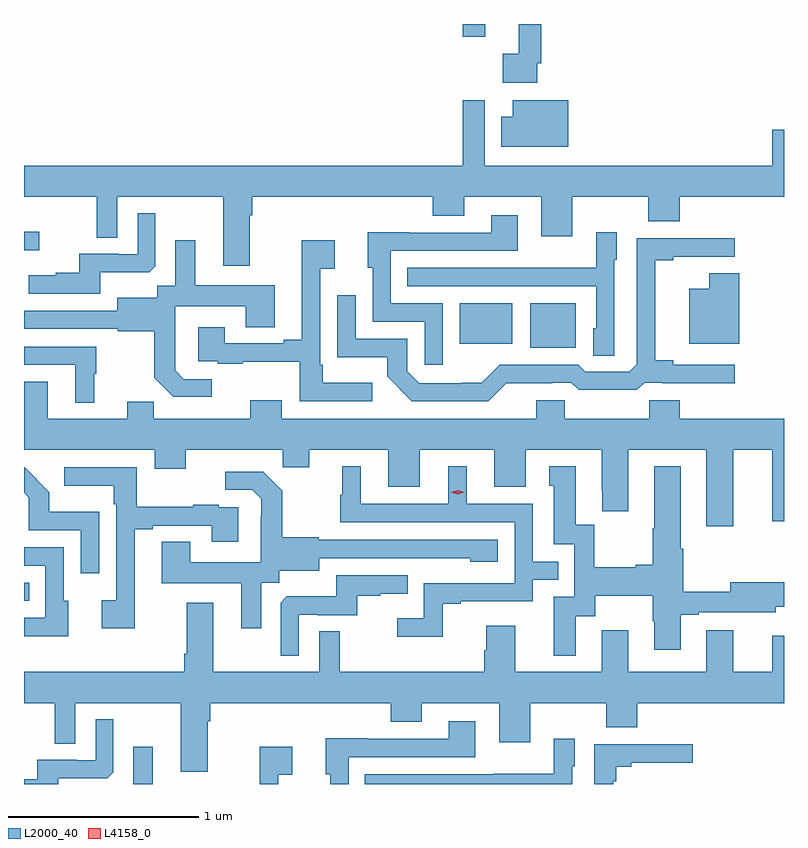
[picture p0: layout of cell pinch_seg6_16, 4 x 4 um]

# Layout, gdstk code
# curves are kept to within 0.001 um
import gdstk
lib = gdstk.Library(unit=1e-6, precision=1e-09)
def R(c, l, rs):  # rectangles x0, y0, x1, y1
    for r in rs: c.add(gdstk.rectangle(r[:2], r[2:], *l))
def P(c, l, *ps):  # polygons
    for p in ps: c.add(gdstk.Polygon(p, *l))
L2000_40 = (2000, 40)
L4158_0 = (4158, 0)

pinch_seg6_16 = lib.new_cell('pinch_seg6_16')
R(pinch_seg6_16, L2000_40, [(964.841,957.566,964.945,957.763), (964.267,958.53,964.295,958.626), (966.932,959.861,967.171,960.097), (966.56,959.882,966.838,960.097), (964.267,960.374,964.348,960.473), (966.577,961.5,966.695,961.566)])
P(pinch_seg6_16, L2000_40, [(966.969,961.36),(966.989,961.36),(966.989,961.566),(966.872,961.566),(966.872,961.409),(966.786,961.409),(966.786,961.256),(966.969,961.256)],
  [(967.132,961.165),(966.839,961.165),(966.839,961.078),(966.778,961.078),(966.778,960.92),(967.132,960.92)],
  [(965.455,960.56),(965.468,960.56),(965.468,960.656),(966.419,960.656),(966.419,960.557),(966.583,960.557),(966.583,960.656),(966.989,960.656),(966.989,960.45),(967.153,960.45),(967.153,960.656),(967.553,960.656),(967.553,960.528),(967.717,960.528),(967.717,960.656),(968.267,960.656),(968.267,961.009),(968.204,961.009),(968.204,960.82),(966.693,960.82),(966.693,961.165),(966.577,961.165),(966.577,960.82),(964.267,960.82),(964.267,960.656),(964.65,960.656),(964.65,960.442),(964.758,960.442),(964.758,960.656),(965.315,960.656),(965.315,960.294),(965.455,960.294)],
  [(964.669,960.26),(964.927,960.26),(964.959,960.291),(964.959,960.571),(964.866,960.571),(964.866,960.354),(964.766,960.354),(964.766,960.357),(964.559,960.357),(964.559,960.256),(964.435,960.256),(964.435,960.244),(964.291,960.244),(964.291,960.147),(964.669,960.147)],
  [(966.471,960.096),(966.198,960.096),(966.198,960.372),(966.865,960.372),(966.865,960.559),(966.725,960.559),(966.725,960.468),(966.295,960.468),(966.295,960.47),(966.077,960.47),(966.077,960.282),(966.102,960.282),(966.102,960),(966.375,960),(966.375,959.772),(966.471,959.772)],
  [(967.374,960.324),(967.387,960.324),(967.387,960.469),(967.278,960.469),(967.278,960.283),(966.961,960.283),(966.961,960.282),(966.283,960.282),(966.283,960.186),(967.278,960.186),(967.278,959.964),(967.262,959.964),(967.262,959.821),(967.374,959.821)],
  [(966.806,959.675),(967.046,959.675),(967.046,959.679),(967.146,959.679),(967.186,959.64),(967.493,959.64),(967.533,959.679),(967.627,959.679),(967.627,959.675),(968.008,959.675),(968.008,959.772),(967.684,959.772),(967.684,959.795),(967.589,959.795),(967.589,960.322),(967.684,960.322),(967.684,960.342),(968.008,960.342),(968.008,960.438),(967.491,960.438),(967.491,959.775),(967.452,959.736),(967.221,959.736),(967.185,959.772),(966.771,959.772),(966.677,959.678),(966.572,959.678),(966.572,959.676),(966.348,959.676),(966.285,959.739),(966.285,959.91),(966.012,959.91),(966.012,960.139),(965.916,960.139),(965.916,959.813),(966.178,959.813),(966.178,959.711),(966.308,959.58),(966.711,959.58)],
  [(965.254,959.697),(965.109,959.697),(965.062,959.744),(965.062,959.839),(965.064,959.839),(965.064,960.08),(965.435,960.08),(965.435,959.971),(965.587,959.971),(965.587,960.19),(965.167,960.19),(965.167,960.427),(965.063,960.427),(965.063,960.188),(964.968,960.188),(964.968,960.124),(964.757,960.124),(964.757,960.057),(964.267,960.057),(964.267,959.961),(964.761,959.961),(964.761,959.949),(964.953,959.949),(964.953,959.703),(965.053,959.603),(965.254,959.603)],
  [(966.1,959.677),(965.839,959.677),(965.839,959.773),(965.826,959.773),(965.826,960.278),(965.902,960.278),(965.902,960.427),(965.729,960.427),(965.729,959.905),(965.633,959.905),(965.633,959.886),(965.323,959.886),(965.323,959.971),(965.183,959.971),(965.183,959.79),(965.287,959.79),(965.287,959.778),(965.419,959.778),(965.419,959.789),(965.718,959.789),(965.718,959.58),(966.1,959.58)],
  [(968.032,960.253),(967.874,960.253),(967.874,960.172),(967.769,960.172),(967.769,959.882),(968.032,959.882)],
  [(964.636,959.724),(964.648,959.724),(964.648,959.868),(964.267,959.868),(964.267,959.772),(964.538,959.772),(964.538,959.573),(964.636,959.573)],
  [(967.113,959.586),(966.962,959.586),(966.962,959.488),(965.623,959.488),(965.623,959.587),(965.459,959.587),(965.459,959.488),(964.949,959.488),(964.949,959.579),(964.811,959.579),(964.811,959.488),(964.393,959.488),(964.393,959.683),(964.267,959.683),(964.267,959.324),(964.955,959.324),(964.955,959.225),(965.119,959.225),(965.119,959.324),(965.629,959.324),(965.629,959.234),(965.767,959.234),(965.767,959.324),(966.185,959.324),(966.185,959.13),(966.349,959.13),(966.349,959.324),(966.743,959.324),(966.743,959.13),(966.907,959.13),(966.907,959.324),(967.307,959.324),(967.307,959.113),(967.31,959.113),(967.31,959.001),(967.447,959.001),(967.447,959.324),(967.859,959.324),(967.859,958.923),(967.999,958.923),(967.999,959.324),(968.204,959.324),(968.204,958.95),(968.267,958.95),(968.267,959.488),(967.718,959.488),(967.718,959.586),(967.558,959.586),(967.558,959.488),(967.113,959.488)],
  [(967.171,958.45),(967.273,958.45),(967.273,958.556),(967.576,958.556),(967.576,958.422),(967.583,958.422),(967.583,958.272),(967.723,958.272),(967.723,958.458),(967.819,958.458),(967.819,958.47),(968.224,958.47),(968.224,958.499),(968.267,958.499),(968.267,958.629),(967.985,958.629),(967.985,958.579),(967.736,958.579),(967.736,958.804),(967.723,958.804),(967.723,959.239),(967.583,959.239),(967.583,958.913),(967.576,958.913),(967.576,958.721),(967.487,958.721),(967.487,958.708),(967.269,958.708),(967.269,958.931),(967.171,958.931),(967.171,959.239),(967.031,959.239),(967.031,959.136),(967.055,959.136),(967.055,958.827),(967.164,958.827),(967.164,958.551),(967.055,958.551),(967.055,958.242),(967.171,958.242)],
  [(966.471,958.515),(966.565,958.515),(966.565,958.527),(966.945,958.527),(966.945,958.641),(967.079,958.641),(967.079,958.737),(966.945,958.737),(966.945,959.04),(966.598,959.04),(966.598,959.239),(966.5,959.239),(966.5,959.04),(966.04,959.04),(966.04,959.239),(965.942,959.239),(965.942,959.088),(965.931,959.088),(965.931,958.944),(966.849,958.944),(966.849,958.623),(966.372,958.623),(966.372,958.438),(966.231,958.438),(966.231,958.34),(966.471,958.34)],
  [(964.849,958.908),(964.945,958.908),(964.945,958.926),(965.255,958.926),(965.255,958.842),(965.395,958.842),(965.395,959.022),(965.291,959.022),(965.291,959.035),(965.159,959.035),(965.159,959.024),(964.861,959.024),(964.861,959.232),(964.479,959.232),(964.479,959.135),(964.74,959.135),(964.74,959.039),(964.752,959.039),(964.752,958.534),(964.677,958.534),(964.677,958.386),(964.849,958.386)],
  [(964.662,958.999),(964.401,958.999),(964.401,959.102),(964.27,959.232),(964.267,959.232),(964.267,959.099),(964.293,959.073),(964.293,958.902),(964.566,958.902),(964.566,958.674),(964.662,958.674)],
  [(965.515,958.624),(965.61,958.624),(965.61,958.688),(965.821,958.688),(965.821,958.755),(966.615,958.754),(966.615,958.736),(966.76,958.736),(966.76,958.851),(965.817,958.851),(965.817,958.864),(965.625,958.864),(965.625,959.109),(965.525,959.209),(965.325,959.209),(965.325,959.115),(965.469,959.115),(965.516,959.068),(965.516,958.973),(965.514,958.973),(965.514,958.732),(965.143,958.732),(965.143,958.841),(964.991,958.841),(964.991,958.622),(965.411,958.622),(965.411,958.386),(965.515,958.386)],
  [(964.501,958.53),(964.476,958.53),(964.476,958.812),(964.267,958.812),(964.267,958.716),(964.38,958.716),(964.38,958.44),(964.267,958.44),(964.267,958.344),(964.283,958.344),(964.283,958.343),(964.501,958.343)],
  [(965.712,958.458),(965.812,958.458),(965.812,958.455),(966.02,958.455),(966.02,958.557),(966.143,958.557),(966.143,958.568),(966.287,958.568),(966.287,958.665),(965.91,958.665),(965.91,958.553),(965.651,958.553),(965.619,958.521),(965.619,958.241),(965.712,958.241)],
  [(964.267,957.992),(964.428,957.992),(964.428,957.778),(964.536,957.778),(964.536,957.992),(965.093,957.992),(965.093,957.63),(965.233,957.63),(965.233,957.896),(965.246,957.896),(965.246,957.992),(966.197,957.992),(966.197,957.893),(966.361,957.893),(966.361,957.992),(966.767,957.992),(966.767,957.786),(966.931,957.786),(966.931,957.992),(967.331,957.992),(967.331,957.864),(967.495,957.864),(967.495,957.992),(968.267,957.992),(968.267,958.345),(968.204,958.345),(968.204,958.156),(967.999,958.156),(967.999,958.375),(967.859,958.375),(967.859,958.156),(967.447,958.156),(967.447,958.375),(967.307,958.375),(967.307,958.156),(966.853,958.156),(966.853,958.399),(966.701,958.399),(966.701,958.269),(966.689,958.269),(966.689,958.156),(965.929,958.156),(965.929,958.37),(965.82,958.37),(965.82,958.156),(965.263,958.156),(965.263,958.519),(965.123,958.519),(965.123,958.252),(965.111,958.252),(965.111,958.156),(964.267,958.156)],
  [(964.447,957.596),(964.705,957.596),(964.737,957.627),(964.737,957.907),(964.644,957.907),(964.644,957.69),(964.544,957.69),(964.544,957.693),(964.337,957.693),(964.337,957.592),(964.267,957.592),(964.267,957.566),(964.447,957.566)],
  [(965.976,957.708),(966.643,957.708),(966.643,957.895),(966.503,957.895),(966.503,957.804),(966.073,957.804),(966.073,957.806),(965.855,957.806),(965.855,957.618),(965.88,957.618),(965.88,957.566),(965.976,957.566)],
  [(967.152,957.66),(967.165,957.66),(967.165,957.805),(967.056,957.805),(967.056,957.619),(966.739,957.619),(966.739,957.618),(966.061,957.618),(966.061,957.566),(967.152,957.566)],
  [(967.367,957.581),(967.385,957.581),(967.385,957.658),(967.462,957.658),(967.462,957.677),(967.786,957.677),(967.786,957.774),(967.269,957.774),(967.269,957.566),(967.367,957.566)],
  [(965.604,957.614),(965.68,957.614),(965.68,957.763),(965.507,957.763),(965.507,957.566),(965.604,957.566)])
P(pinch_seg6_16, L4158_0, [(966.549,959.092),(966.513,959.102),(966.513,959.102),(966.513,959.102),(966.549,959.112),(966.585,959.102),(966.585,959.102),(966.585,959.102)])

lib.write_gds('pinch_seg6_16.gds')
